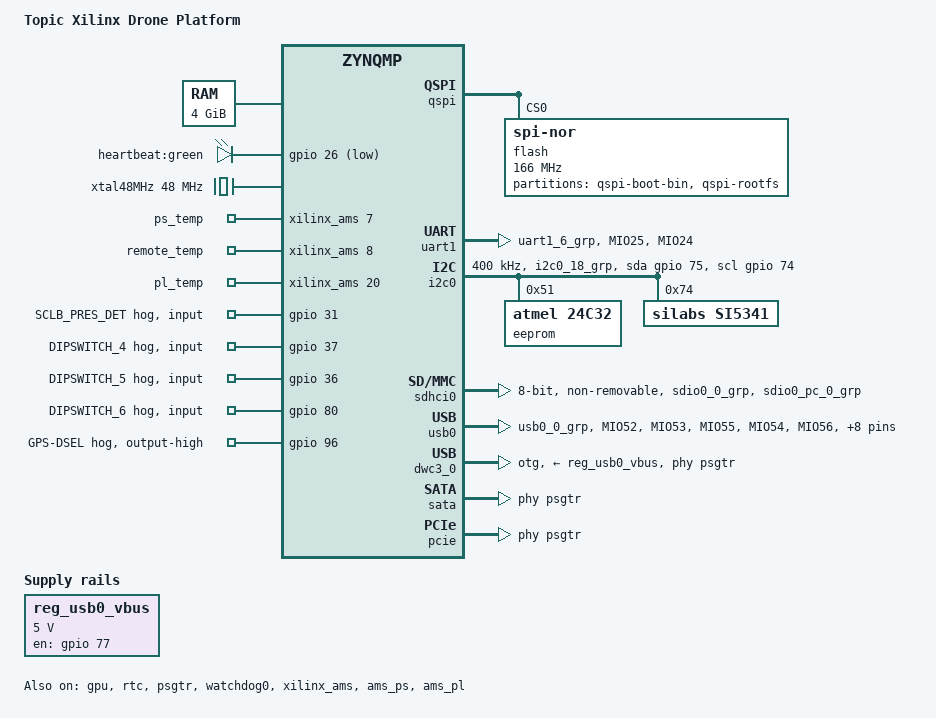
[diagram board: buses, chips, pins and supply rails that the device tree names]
/*
 * dts file for XDP (Xilinx Drone Platform) board without PL
 *
 * (C) Copyright 2019, Topic Embedded Products BV
 *
 * This program is free software; you can redistribute it and/or
 * modify it under the terms of the GNU General Public License as
 * published by the Free Software Foundation; either version 2 of
 * the License, or (at your option) any later version.
 */

/dts-v1/;

#include "zynqmp.dtsi"
#include "zynqmp-clk-ccf.dtsi"
#include <dt-bindings/input/input.h>
#include <dt-bindings/gpio/gpio.h>
#include <dt-bindings/interrupt-controller/irq.h>
#include <dt-bindings/pinctrl/pinctrl-zynqmp.h>
#include <dt-bindings/phy/phy.h>

/ {
	model = "Topic Xilinx Drone Platform";
	compatible = "topic,xdp", "topic,miamimp", "xlnx,zynqmp";

	aliases {
		gpio0 = &gpio;
		i2c0 = &i2c0;
		i2c1 = &i2c1;
		mmc0 = &sdhci0;
		mmc1 = &sdhci1;
		rtc0 = &rtc;
		serial0 = &uart1;
		serial1 = &uart0;
		spi0 = &qspi;
		usb0 = &usb0;
	};

	chosen {
		bootargs = "root=/dev/mmcblk1p2 rw rootfstype=ext4 rootwait";
		stdout-path = "serial0:115200n8";
	};

	memory {
		device_type = "memory";
		/* 4GB */
		reg = <0x0 0x0 0x0 0x80000000>, <0x8 0x00000000 0x0 0x80000000>;
	};

	/* Regulator for the 5V USB VBUS power line. */
	reg_usb0_vbus: regulator_usb {
		compatible = "regulator-fixed";
		regulator-name = "usb0-vbus";
		regulator-min-microvolt = <5000000>;
		regulator-max-microvolt = <5000000>;
		gpio = <&gpio 77 0>; /* MIO77 -> USB_OTG_EN */
		enable-active-high;
	};

	leds: leds {
		compatible = "gpio-leds";
		heartbeat_led {
			label = "heartbeat:green";
			gpios = <&gpio 26 GPIO_ACTIVE_LOW>;
			linux,default-trigger = "heartbeat";
		};
	};

	/* XTAL for Si5341 */
	xtal48MHz: xtal_48_clock {
		compatible = "fixed-clock";
		#clock-cells = <0x0>;
		clock-frequency = <48000000>;
	};

	/* Make temperature readouts show up in hwmon applications */
	iio-hwmon-ams-temp {
		compatible = "iio-hwmon";
		io-channels = <&xilinx_ams 7>, <&xilinx_ams 8>, <&xilinx_ams 20>;
		io-channel-names = "ps_temp", "remote_temp", "pl_temp";
	};
};

/* Operating points for 1333 MHz operation */
&cpu_opp_table {
	opp00 {
		opp-hz = /bits/ 64 <1333333320>;
	};
	opp01 {
		opp-hz = /bits/ 64 <666666660>;
	};
	opp02 {
		opp-hz = /bits/ 64 <444444440>;
	};
	opp03 {
		opp-hz = /bits/ 64 <333333330>;
	};
};

&gpio {
	status = "okay";
	pinctrl-names = "default";
	pinctrl-0 = <&pinctrl_gpio_default>;

	sclb-pres-det {
		gpio-hog;
		gpios = <31 0>; /* MIO 31 */
		input;
		line-name = "SCLB_PRES_DET";
	};
	dipsw4 {
		gpio-hog;
		gpios = <37 0>; /* MIO 37 */
		input;
		line-name = "DIPSWITCH_4";
	};
	dipsw5 {
		gpio-hog;
		gpios = <36 0>; /* MIO 36 */
		input;
		line-name = "DIPSWITCH_5";
	};
	dipsw6 {
		gpio-hog;
		gpios = <80 0>; /* EMIO 2 */
		input;
		line-name = "DIPSWITCH_6";
	};
	gps-dsel {
		gpio-hog;
		gpios = <96 0>; /* EMIO 18 */
		output-high;
		line-name = "GPS-DSEL";
	};
};

&gpu {
	status = "okay";
};

&qspi {
	status = "okay";
	is-dual = <1>;
	multi-die = <1>;
	flash@0 {
		compatible = "jedec,spi-nor";
		#address-cells = <1>;
		#size-cells = <1>;
		reg = <0x0>;
		spi-tx-bus-width = <1>;
		spi-rx-bus-width = <4>;
		spi-max-frequency = <166000000>;
		is-dual = <1>;
		multi-die = <1>;
		partition@qspi-boot-bin {
			label = "qspi-boot-bin";
			reg = <0x00000 0x180000>;
		};
		partition@qspi-rootfs {
			label = "qspi-rootfs";
			reg = <0x180000 0>;
		};
	};
};

&rtc {
	status = "okay";
};

&psgtr {
	status = "okay";
	clock-names = "ref0", "ref2";
	clocks = <&si5341 0 0>, <&si5341 0 1>;
};

&uart1 {
	status = "okay";
	pinctrl-names = "default";
	pinctrl-0 = <&pinctrl_uart1_default>;
};

&watchdog0 {
	status = "okay";
};

&xilinx_ams {
	status = "okay";
};

&ams_ps {
	status = "okay";
};

&ams_pl {
	status = "okay";
};

&i2c0 {
	status = "okay";
	clock-frequency = <400000>;
	pinctrl-names = "default", "gpio";
	pinctrl-0 = <&pinctrl_i2c0_default>;
	pinctrl-1 = <&pinctrl_i2c0_gpio>;
	scl-gpios = <&gpio 74 GPIO_ACTIVE_HIGH>;
	sda-gpios = <&gpio 75 GPIO_ACTIVE_HIGH>;

	/* EEPROM */
	eeprom: eeprom@51 {
		compatible = "atmel,24c32";
		reg = <0x51>;
		pagesize = <32>;
		#address-cells = <1>;
		#size-cells = <1>;
		/* Last 8 bytes */
		dyplolicense: dyplolicense@ff8 {
			reg = <0xff8 8>;
		};
	};

	/* Programmable clock (for logic) */
	si5341: si5341@74 {
		reg = <0x74>;
		compatible = "silabs,si5341";
		#clock-cells = <2>;
		#address-cells = <1>;
		#size-cells = <0>;
		clocks = <&xtal48MHz>;
		clock-names = "xtal";

		silabs,pll-m-num = <13600>; /* PLL at 13.6 GHz */
		silabs,pll-m-den = <48>;
		silabs,reprogram; /* Chips are not programmed, always reset */

		assigned-clocks = <&si5341 1 0>,
				  <&si5341 1 1>,
				  <&si5341 1 2>,
				  <&si5341 1 3>,
				  <&si5341 1 4>,
				  <&si5341 0 0>,
				  <&si5341 0 1>,
				  <&si5341 0 2>,
				  <&si5341 0 3>,
				  <&si5341 0 4>,
				  <&si5341 0 5>,
				  <&si5341 0 6>,
				  <&si5341 0 7>,
				  <&si5341 0 8>,
				  <&si5341 0 9>;
		assigned-clock-parents = <0>, <0>, <0>, <0>, <0>,
					<&si5341 1 3>,
					<&si5341 1 2>,
					<&si5341 1 1>,
					<&si5341 1 4>,
					<&si5341 1 1>,
					<&si5341 1 0>,
					<&si5341 1 0>,
					<&si5341 1 0>,
					<&si5341 1 3>,
					<&si5341 1 0>;
		assigned-clock-rates =	<400000000>, /* synth 0 */
					<594000000>,
					<104000000>,
					<0>,
					<594000000>,
					<0>, /* out 0 */
					<26000000>,
					<148500000>,
					<148500000>,
					<148500000>,
					<0>,
					<200000000>,
					<200000000>,
					<0>,
					<100000000>;

		out@0 {
			/* refclk0 for PS-GT, usually for SATA or PCIe */
			reg = <0>;
			silabs,format = <1>; /* LVDS 3v3 */
			silabs,common-mode = <3>;
			silabs,amplitude = <3>;
			always-on; /* assigned-clocks does not enable, so do it here */
		};

		out@1 {
			/* refclk2 for PS-GT, used for USB3 (26MHz) */
			reg = <1>;
			silabs,format = <1>; /* LVDS 3v3 */
			silabs,common-mode = <3>;
			silabs,amplitude = <3>;
			silabs,synth-master;
			always-on;
		};

		out@2 {
			/* PL_MGT_REFCLK0 (148.5 MHz) */
			reg = <2>;
			silabs,format = <1>; /* LVDS 3v3 */
			silabs,common-mode = <3>;
			silabs,amplitude = <3>;
			always-on;
		};

		out@3 {
			/* PL_MGT_REFCLK2 HDMI TX refclk (default 148.5 MHz) */
			reg = <3>;
			silabs,format = <1>; /* LVDS 3v3 */
			silabs,common-mode = <3>;
			silabs,amplitude = <3>;
			silabs,synth-master;
		};

		out@4 {
			/* PL_MGT_REFCLK4 (148.5 MHz) */
			reg = <4>;
			silabs,format = <1>; /* LVDS 3v3 */
			silabs,common-mode = <3>;
			silabs,amplitude = <3>;
			always-on;
		};


		out@6 {
			/* FPGA clock 200MHz (demosaic) */
			reg = <6>;
			silabs,format = <1>; /* LVDS 1v8 */
			silabs,common-mode = <13>;
			silabs,amplitude = <3>;
			always-on;
		};

		out@7 {
			/* FPGA clock (blinking LED) */
			reg = <7>;
			silabs,format = <1>; /* LVDS 1v8 */
			silabs,common-mode = <13>;
			silabs,amplitude = <3>;
			always-on;
		};

		out@8 {
			/* XDP_REFCLK0 100MHz (PCIe) */
			reg = <8>;
			silabs,format = <2>; /* HCSL 3v3 */
			silabs,common-mode = <11>;
			silabs,amplitude = <3>;
			always-on;
		};

		out@9 {
			/* XDP_REFCLK1 100MHz */
			reg = <9>;
			silabs,format = <1>; /* LVDS 3v3 */
			silabs,common-mode = <3>;
			silabs,amplitude = <3>;
			always-on;
		};
	};
};

/* EMMC memory */
&sdhci0 {
	status = "okay";
	xlnx,mio_bank = <0>;
	disable-wp;
	non-removable;
	bus-width = <8>;
	cap-power-off-card;
	pinctrl-names = "default";
	pinctrl-0 = <&pinctrl_sdhci0_emmc_default>;
};

/* USB connected through MIO and GPIO expander */
&usb0 {
	status = "okay";
	pinctrl-names = "default";
	pinctrl-0 = <&pinctrl_usb0_default>;
	/* Xilinx defines "reset-gpio" but this should be reset-gpios. */
	/delete-property/ reset-gpio;
	reset-gpios = <&gpio 65 GPIO_ACTIVE_LOW>; /* MIO65 -> USB_RESET */
};

&dwc3_0 {
	status = "okay";
	dr_mode = "otg"; /* One of host, peripheral, otg */
	vbus-supply = <&reg_usb0_vbus>;

	/* USB3 controller uses GTX lane "2" and refclk "2" at 26MHz */
	phy-names = "usb3-phy";
	phys = <&psgtr 2 PHY_TYPE_USB3 0 2>;
	maximum-speed = "super-speed";
	snps,usb3_lpm_capable;

	/* refclk2 for USB3 from clock synth, use synth 2 to generate it */
	assigned-clocks        = <&si5341 1 2>, <&si5341 0 1>;
	assigned-clock-parents = <0>,           <&si5341 1 2>;
	assigned-clock-rates   = <104000000>,   <26000000>;
};

&sata {
	/* SATA OOB timing settings */
	/* copied from zc1751 (reference clock at 150MHz) */
	ceva,p0-cominit-params = /bits/ 8 <0x1B 0x4D 0x18 0x28>;
	ceva,p0-comwake-params = /bits/ 8 <0x06 0x19 0x08 0x0E>;
	ceva,p0-burst-params = /bits/ 8 <0x13 0x08 0x4A 0x06>;
	ceva,p0-retry-params = /bits/ 16 <0x96A4 0x3FFC>;
	ceva,p1-cominit-params = /bits/ 8 <0x1B 0x4D 0x18 0x28>;
	ceva,p1-comwake-params = /bits/ 8 <0x06 0x19 0x08 0x0E>;
	ceva,p1-burst-params = /bits/ 8 <0x13 0x08 0x4A 0x06>;
	ceva,p1-retry-params = /bits/ 16 <0x96A4 0x3FFC>;

	phy-names = "sata-phy", "sata-phy";
	/* Use refclock 0 at 150MHz for both instances */
	phys = <&psgtr 0 PHY_TYPE_SATA 0 0>,
	       <&psgtr 1 PHY_TYPE_SATA 1 0>;
	/* refclk0 from clock output 0 synth 3 */
	assigned-clocks        = <&si5341 1 3>, <&si5341 0 0>;
	assigned-clock-parents = <0>,           <&si5341 1 3>;
	assigned-clock-rates   = <600000000>,   <150000000>;
};

&pcie {
	/* refclk0 from clock synth and HCSL ref clock to connector */
	assigned-clocks        = <&si5341 1 3>, <&si5341 0 0>, <&si5341 0 8>;
	assigned-clock-parents = <0>,           <&si5341 1 3>, <&si5341 1 3>;
	assigned-clock-rates   = <400000000>,   <100000000>,   <100000000>;

	phys = <&psgtr 0 PHY_TYPE_PCIE 0 0>,
	       <&psgtr 1 PHY_TYPE_PCIE 1 0>;
};

/* DMA stuff copied from petalinux */
&lpd_dma_chan1 {
	status = "okay";
};
&lpd_dma_chan2 {
	status = "okay";
};
&lpd_dma_chan3 {
	status = "okay";
};
&lpd_dma_chan4 {
	status = "okay";
};
&lpd_dma_chan5 {
	status = "okay";
};
&lpd_dma_chan6 {
	status = "okay";
};
&lpd_dma_chan7 {
	status = "okay";
};
&lpd_dma_chan8 {
	status = "okay";
};
&perf_monitor_ocm {
	xlnx,enable-32bit-filter-id = <0x1>;
	xlnx,enable-advanced = <0x1>;
	xlnx,enable-event-count = <0x1>;
	xlnx,enable-event-log = <0x0>;
	xlnx,enable-profile = <0x0>;
	xlnx,enable-trace = <0x0>;
	xlnx,fifo-axis-depth = <0x20>;
	xlnx,fifo-axis-tdata-width = <0x38>;
	xlnx,fifo-axis-tid-width = <0x1>;
	xlnx,global-count-width = <0x20>;
	xlnx,have-sampled-metric-cnt = <0x1>;
	xlnx,metric-count-scale = <0x1>;
	xlnx,metrics-sample-count-width = <0x20>;
	xlnx,num-monitor-slots = <0x1>;
	xlnx,num-of-counters = <0x3>;
};
&fpd_dma_chan1 {
	status = "okay";
};
&fpd_dma_chan2 {
	status = "okay";
};
&fpd_dma_chan3 {
	status = "okay";
};
&fpd_dma_chan4 {
	status = "okay";
};
&fpd_dma_chan5 {
	status = "okay";
};
&fpd_dma_chan6 {
	status = "okay";
};
&fpd_dma_chan7 {
	status = "okay";
};
&fpd_dma_chan8 {
	status = "okay";
};

/*
 * For pincontrol, look at the source as it was moved to ATF:
 *  https://github.com/Xilinx/arm-trusted-firmware/blob/master/plat/xilinx/zynqmp/pm_service/pm_api_pinctrl.c
 * For pinmux information, there's
 *  /sys/kernel/debug/pinctrl/pinctrl/pingroups
 */
&pinctrl0 {
	status = "okay";

	/* I2C on pins 74/75 */
	pinctrl_i2c0_default: i2c0-default {
		mux {
			groups = "i2c0_18_grp";
			function = "i2c0";
		};

		conf {
			groups = "i2c0_18_grp";
			bias-pull-up;
			slew-rate = <SLEW_RATE_SLOW>;
			power-source = <IO_STANDARD_LVCMOS18>;
		};
	};
	pinctrl_i2c0_gpio: i2c0-gpio {
		mux {
			groups = "gpio0_74_grp", "gpio0_75_grp";
			function = "gpio0";
		};

		conf {
			groups = "gpio0_74_grp", "gpio0_75_grp";
			slew-rate = <SLEW_RATE_SLOW>;
			power-source = <IO_STANDARD_LVCMOS18>;
		};
	};

	/* uart1 pins 24/25 */
	pinctrl_uart1_default: uart1-default {
		mux {
			groups = "uart1_6_grp";
			function = "uart1";
		};

		conf {
			groups = "uart1_6_grp";
			slew-rate = <SLEW_RATE_SLOW>;
			power-source = <IO_STANDARD_LVCMOS18>;
		};

		conf-rx {
			pins = "MIO25";
			bias-high-impedance;
			bias-pull-up;
			input-schmitt-enable;
		};

		conf-tx {
			pins = "MIO24";
			bias-disable;
			input-schmitt-disable;
		};
	};

	pinctrl_gpio_default: gpio-default {
		mux-sw {
			groups = "gpio0_36_grp", "gpio0_37_grp";
			function = "gpio0";
		};

		/* SWITCH_ PS0/1 (can be read to get switch input) */
		conf-sw {
			groups = "gpio0_36_grp", "gpio0_37_grp";
			slew-rate = <SLEW_RATE_SLOW>;
			power-source = <IO_STANDARD_LVCMOS18>;
			bias-pull-up;
		};

		/* Add pull-up to pins that go to connectors for electrical stability */
		conf-pullup {
			pins = "MIO33", "MIO34", "MIO35", "MIO68", "MIO69", "MIO70", "MIO71", "MIO72", "MIO73";
			bias-pull-up;
		};

		/* Pull-up the USB reset pin, driver doesn't support reset */
		conf-usbreset {
			pins = "MIO66";
			bias-pull-up;
		};
	};

	pinctrl_sdhci0_emmc_default: sdhci0-emmc-default {
		/* eMMC using pins 13 .. 22 in 8-bit mode */
		mux {
			groups = "sdio0_0_grp";
			function = "sdio0";
		};

		mux-pc {
			groups = "sdio0_pc_0_grp";
			function = "sdio0_pc";
		};

		conf {
			groups = "sdio0_0_grp";
			slew-rate = <SLEW_RATE_FAST>;
			power-source = <IO_STANDARD_LVCMOS18>;
			bias-disable;
		};

		conf-pc {
			groups = "sdio0_pc_0_grp";
			slew-rate = <SLEW_RATE_SLOW>;
			power-source = <IO_STANDARD_LVCMOS18>;
			bias-pull-up;
		};
	};

	pinctrl_sdhci1_sd_default: sdhci1-sd-default {
		/* SD using pins 46 .. 51 in 4-bit mode */
		mux {
			groups = "sdio1_2_grp";
			function = "sdio1";
		};
		conf {
			groups = "sdio1_2_grp";
			slew-rate = <SLEW_RATE_FAST>;
			power-source = <IO_STANDARD_LVCMOS33>;
			bias-disable;
		};

		/* Card detect on pin 45 */
		mux-cd {
			groups = "sdio1_cd_0_grp";
			function = "sdio1_cd";
		};
		conf-cd {
			groups = "sdio1_cd_0_grp";
			slew-rate = <SLEW_RATE_SLOW>;
			power-source = <IO_STANDARD_LVCMOS33>;
			bias-pull-up;
		};
	};

	pinctrl_usb0_default: usb0-default {
		mux {
			groups = "usb0_0_grp";
			function = "usb0";
		};

		conf {
			groups = "usb0_0_grp";
			slew-rate = <SLEW_RATE_SLOW>;
			power-source = <IO_STANDARD_LVCMOS18>;
		};

		conf-rx {
			pins = "MIO52", "MIO53", "MIO55";
			bias-high-impedance;
		};

		conf-tx {
			pins = "MIO54", "MIO56", "MIO57", "MIO58", "MIO59",
			       "MIO60", "MIO61", "MIO62", "MIO63";
			bias-disable;
		};
	};
};
